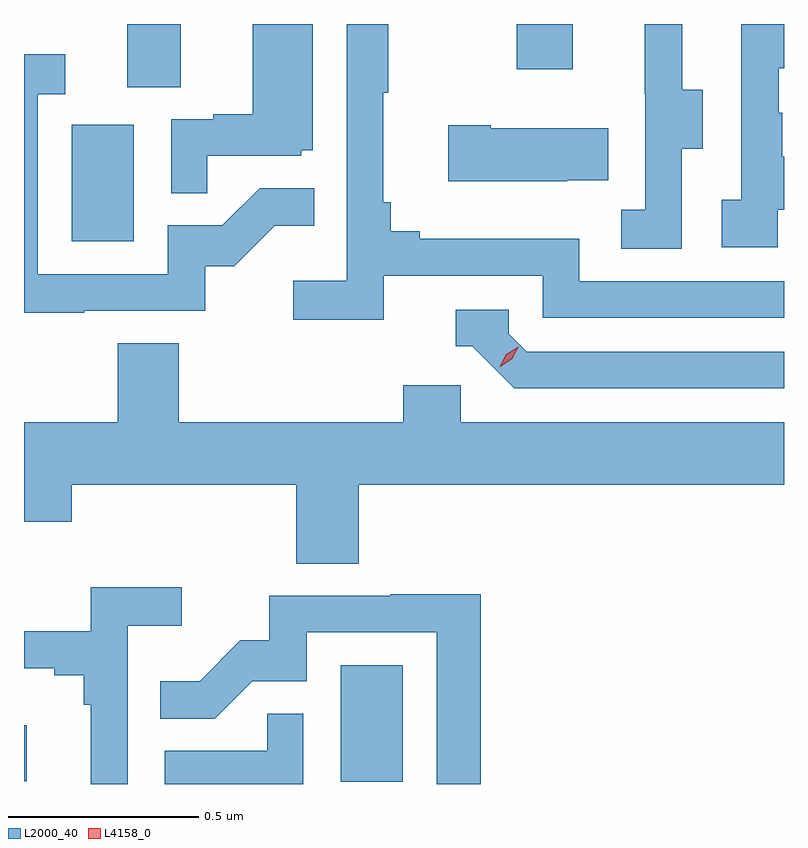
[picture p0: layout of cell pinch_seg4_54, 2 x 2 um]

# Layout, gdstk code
import gdstk
lib = gdstk.Library(unit=1e-6, precision=1e-09)
def R(c, l, rs):  # rectangles x0, y0, x1, y1
    for r in rs: c.add(gdstk.rectangle(r[:2], r[2:], *l))
def P(c, l, *ps):  # polygons
    for p in ps: c.add(gdstk.Polygon(p, *l))
L2000_40 = (2000, 40)
L4158_0 = (4158, 0)

pinch_seg4_54 = lib.new_cell('pinch_seg4_54')
R(pinch_seg4_54, L2000_40, [(1130.174,828.006,1130.338,828.313), (1129.341,828.007,1129.348,828.154), (1129.466,829.428,1129.63,829.735), (1129.613,829.834,1129.753,830), (1130.638,829.881,1130.785,830)])
P(pinch_seg4_54, L2000_40, [(1130.288,829.338),(1130.706,829.338),(1130.706,829.227),(1131.341,829.227),(1131.341,829.323),(1130.802,829.323),(1130.802,829.435),(1130.383,829.435),(1130.383,829.454),(1130.306,829.454),(1130.306,829.531),(1130.287,829.531),(1130.287,829.819),(1130.299,829.819),(1130.299,830),(1130.19,830),(1130.19,829.324),(1130.049,829.324),(1130.049,829.222),(1130.288,829.222)],
  [(1129.823,829.653),(1130.07,829.653),(1130.07,829.668),(1130.101,829.668),(1130.101,830),(1129.943,830),(1129.943,829.762),(1129.839,829.762),(1129.839,829.749),(1129.728,829.749),(1129.728,829.555),(1129.823,829.555)],
  [(1131.324,829.511),(1131.341,829.511),(1131.341,829.651),(1131.337,829.651),(1131.337,829.766),(1131.327,829.766),(1131.327,829.884),(1131.341,829.884),(1131.341,830),(1131.228,830),(1131.228,829.538),(1131.177,829.538),(1131.177,829.413),(1131.324,829.413)],
  [(1131.072,829.672),(1131.127,829.672),(1131.127,829.827),(1131.073,829.827),(1131.073,830),(1130.975,830),(1130.975,829.815),(1130.976,829.815),(1130.976,829.511),(1130.913,829.511),(1130.913,829.408),(1131.072,829.408)],
  [(1129.499,829.245),(1129.818,829.245),(1129.818,829.362),(1129.894,829.362),(1130.001,829.469),(1130.105,829.469),(1130.105,829.568),(1129.961,829.568),(1129.863,829.47),(1129.719,829.47),(1129.719,829.341),(1129.377,829.341),(1129.377,829.815),(1129.45,829.815),(1129.45,829.921),(1129.341,829.921),(1129.341,829.24),(1129.499,829.24)],
  [(1130.771,829.589),(1130.879,829.589),(1130.879,829.726),(1130.569,829.726),(1130.569,829.734),(1130.457,829.734),(1130.457,829.586),(1130.771,829.586)],
  [(1131.341,829.137),(1130.664,829.137),(1130.616,829.185),(1130.616,829.248),(1130.477,829.248),(1130.477,829.152),(1130.52,829.152),(1130.631,829.041),(1131.341,829.041)],
  [(1130.222,828.788),(1131.341,828.788),(1131.341,828.952),(1130.49,828.952),(1130.49,829.05),(1130.339,829.05),(1130.339,828.952),(1129.748,828.952),(1129.748,829.16),(1129.588,829.16),(1129.588,828.952),(1129.341,828.952),(1129.341,828.69),(1129.466,828.69),(1129.466,828.788),(1130.057,828.788),(1130.057,828.58),(1130.222,828.58)],
  [(1129.614,828.416),(1129.756,828.416),(1129.756,828.518),(1129.517,828.518),(1129.517,828.402),(1129.341,828.402),(1129.341,828.305),(1129.421,828.305),(1129.421,828.286),(1129.498,828.286),(1129.498,828.209),(1129.517,828.209),(1129.517,828),(1129.614,828)],
  [(1130.543,828.5),(1130.305,828.5),(1130.305,828.495),(1129.987,828.495),(1129.987,828.378),(1129.91,828.378),(1129.803,828.271),(1129.699,828.271),(1129.699,828.172),(1129.843,828.172),(1129.941,828.27),(1130.085,828.27),(1130.085,828.399),(1130.427,828.399),(1130.427,828),(1130.543,828)],
  [(1130.076,828.185),(1129.981,828.185),(1129.981,828.087),(1129.712,828.087),(1129.712,828),(1130.076,828)])
P(pinch_seg4_54, L4158_0, [(1130.593,829.098),(1130.593,829.098),(1130.61,829.131),(1130.641,829.151),(1130.641,829.151),(1130.641,829.15),(1130.625,829.118),(1130.594,829.098)])

lib.write_gds('pinch_seg4_54.gds')
